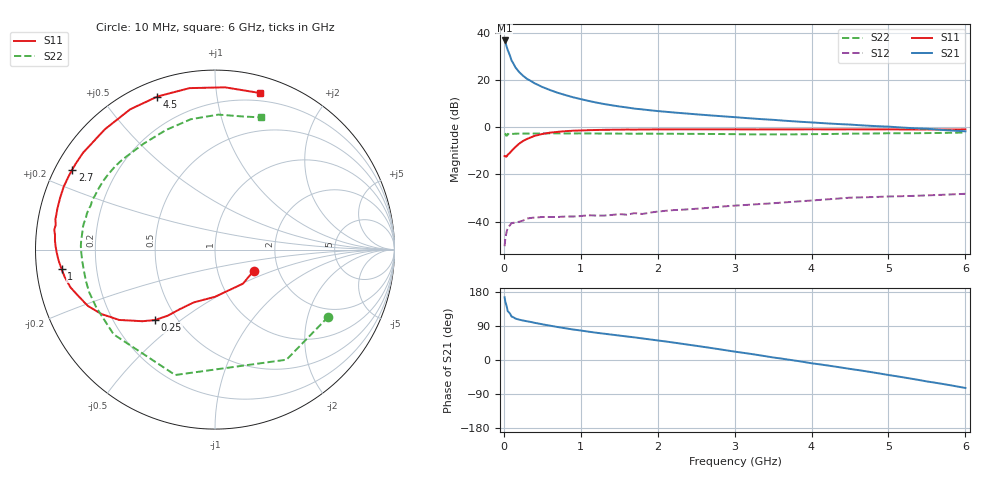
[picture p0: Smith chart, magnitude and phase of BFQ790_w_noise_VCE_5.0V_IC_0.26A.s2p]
! Infineon Technologies  Discrete & RF Semiconductors
! BFQ790
! VCE =  5.0 V,  IC = 0.26 A
! Common Emitter S-Parameters:  May 2015
# GHz  S  MA  R  50
!  f  S11  S21  S12  S22
! GHz  MAG  ANG  MAG  ANG  MAG  ANG  MAG  ANG
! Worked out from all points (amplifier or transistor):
!   77 points, 10 MHz to 6 GHz, reference 50 ohm
!   highest |S21| = 37.0 dB at 10 MHz (marker M1)
!   |S21| within 3 dB of that: start of sweep to 39.92 MHz
!   unconditionally stable (mu >= 1): start of sweep to 12.54 MHz; 163.1 MHz to end of sweep
!   at 130 MHz: K = 0.89, MSG = 33.7 dB, |S12| = -40.5 dB
!   at 2.2 GHz: K = 1.32, MAG = 17.4 dB, |S12| = -35.1 dB
!   at 6 GHz: K = 1.11, MAG = 11.2 dB, |S12| = -28.2 dB
!   lowest NFmin = 3.78 dB at 1.5 GHz
!   S11 on the Smith chart (normalised r, x): 10 MHz: 1.49, -0.37; 250 MHz: 0.38, -0.41; 1 GHz: 0.07, -0.06; 2.7 GHz: 0.05, +0.26; 4.5 GHz: 0.07, +0.69; 6 GHz: 0.13, +1.32
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0.01  0.2459 -28.6  70.43 165.5  0.003 56.4  0.734 -30.6
0.02  0.2456 -50.7  64.31 152.7  0.0045 54.3  0.7314 -57.0
0.05  0.2632 -90.2  44.13 129.1  0.0074 37.1  0.733 -107.6
0.1  0.3166 -111.8  26.44 114.8  0.0092 21.6  0.7362 -140.1
0.15  0.3827 -120.3  18.92 109.4  0.0096 20.5  0.7356 -153.9
0.2  0.4529 -125.6  14.95 106.4  0.0099 23.4  0.7403 -161.3
0.25  0.5154 -130.4  12.51 104.2  0.0105 18.7  0.74 -166.1
0.3  0.5684 -135.4  10.8 102.2  0.0116 16.5  0.7397 -169.7
0.4  0.6623 -143.7  8.654 98.1  0.0122 15.7  0.7423 -174.9
0.5  0.7262 -150.3  7.232 94.2  0.0125 13.0  0.745 -178.5
0.7  0.8045 -161.3  5.445 87.0  0.0125 14.0  0.7474 176.0
0.9  0.8511 -169.6  4.372 80.5  0.0128 10.5  0.7455 172.2
1  0.8619 -172.8  3.997 77.8  0.0131 13.1  0.7465 170.4
1.1  0.8738 -176.1  3.659 74.8  0.0136 12.5  0.7453 168.7
1.5  0.8951 174.8  2.79 64.5  0.0144 15.5  0.7394 162.9
2.1  0.9081 163.5  2.154 49.0  0.0169 15.3  0.7325 154.2
2.7  0.9114 150.8  1.793 31.5  0.0199 10.6  0.7255 142.5
3.1  0.9084 141.5  1.605 19.3  0.0223 7.0  0.7157 133.5
4.1  0.9105 119.1  1.247 -11.3  0.0288 -8.1  0.7214 109.9
4.5  0.9112 110.6  1.15 -23.5  0.0322 -15.1  0.7388 100.5
5.1  0.9064 96.5  1.013 -42.7  0.0343 -27.9  0.7514 86.5
6  0.908 73.8  0.827 -73.9  0.0389 -49.3  0.7794 70.9
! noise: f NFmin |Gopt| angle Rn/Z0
0.45  6.29  0.51  143  0.62
0.9  4.4  0.63  169  0.19
1.5  3.78  0.73  -172  0.1
1.8  3.82  0.74  -166  0.12
2.6  4.01  0.76  -151  0.32
3.5  4.47  0.84  -134  0.73
